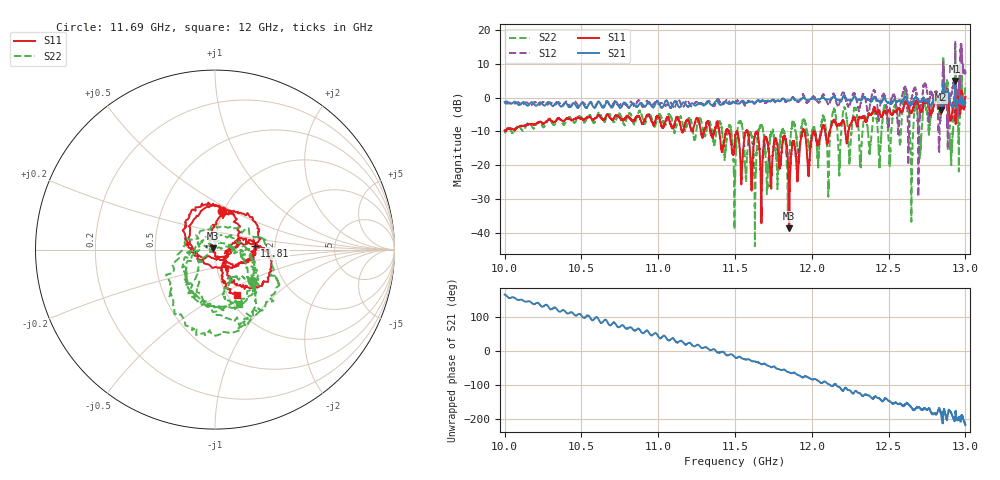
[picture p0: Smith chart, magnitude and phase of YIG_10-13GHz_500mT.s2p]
#  HZ  S  RI  R  50.0
! Rohde & Schwarz ZVL13 2Ports - Version 3.31 - 1303.6509k13 SN: 101088
! Date: 2023-03-06 16:03:19
! Data & Calibration Information:
! Trc4:S11(TOSM) Trc2:S21(TOSM) Trc3:S12(TOSM) Trc5:S22(TOSM)
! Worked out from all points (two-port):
!   4000 points, 10 GHz to 13 GHz, reference 50 ohm
!   highest |S21| = 4.88 dB at 12.93 GHz (marker M1); lowest = -3.6 dB at 12.84 GHz (marker M2)
!   |S21| within 3 dB of the highest: 12.85378 GHz to 12.85867 GHz (4.898 MHz wide, 0.0381 % of centre); 12.85933 GHz to 12.85991 GHz (572.7 kHz wide, 0.00445 % of centre)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
!   lowest |S11| = -38.5 dB at 11.85 GHz (marker M3), VSWR 1.02, Z = 49 + j0.64 ohm
!   |S11| at or under -10 dB: 11.51 GHz to 11.57 GHz (58.04 MHz wide, 0.503 % of centre); 11.58113 GHz to 11.63887 GHz (57.74 MHz wide, 0.497 % of centre); 11.64 GHz to 11.94 GHz (299.8 MHz wide, 2.54 % of centre)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
!   |S22| runs from -43.8 to 14.0 dB; largest |S21 - S12| = 5.7
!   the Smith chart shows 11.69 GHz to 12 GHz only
!   S11 on the Smith chart (normalised r, x): 11.69 GHz: 0.98, +0.45; 11.81 GHz: 1.57, +0.07; 12 GHz: 1.10, -0.61
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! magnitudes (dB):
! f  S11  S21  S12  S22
! 10 GHz  -9.7  -1.4  -1.5  -10.5
! 10.5 GHz  -6.2  -1.6  -1.9  -5.8
! 11 GHz  -5.6  -1.3  -1.9  -5.6
! 11.47 GHz  -10.8  -1.9  -1.4  -8.1
! 11.5 GHz  -11.5  -1.6  -1.5  -24.7
! 11.53 GHz  -14.8  -1.7  -1.4  -6.8
! 11.63 GHz  -11.3  -1.6  -1.7  -31.7
! 11.69 GHz  -13.1  -1.0  -1.3  -11.4
! 11.81 GHz  -13.0  -0.4  -0.3  -9.3
! 11.85 GHz  -38.5  -0.9  -0.9  -17.8
! 11.88 GHz  -12.9  -0.1  0.0  -7.3
! 12 GHz  -12.0  -0.3  -0.1  -10.7
! 12 GHz  -11.0  -0.2  0.1  -9.6
! 12.5 GHz  -3.7  -1.5  -8.3  -12.6
! 12.61 GHz  -1.2  0.0  2.5  2.2
! 12.65 GHz  -4.6  -2.1  -0.4  -29.8
! 12.68 GHz  -1.1  0.1  2.2  -1.8
! 12.84 GHz  -4.5  -3.6  -1.9  -3.0
! 12.87 GHz  -0.1  -1.9  0.6  2.9
! 12.91 GHz  -5.6  -2.2  1.3  -16.3
! 12.93 GHz  3.0  4.9  16.8  14.0
! 13 GHz  0.3  -1.6  8.2  4.1
